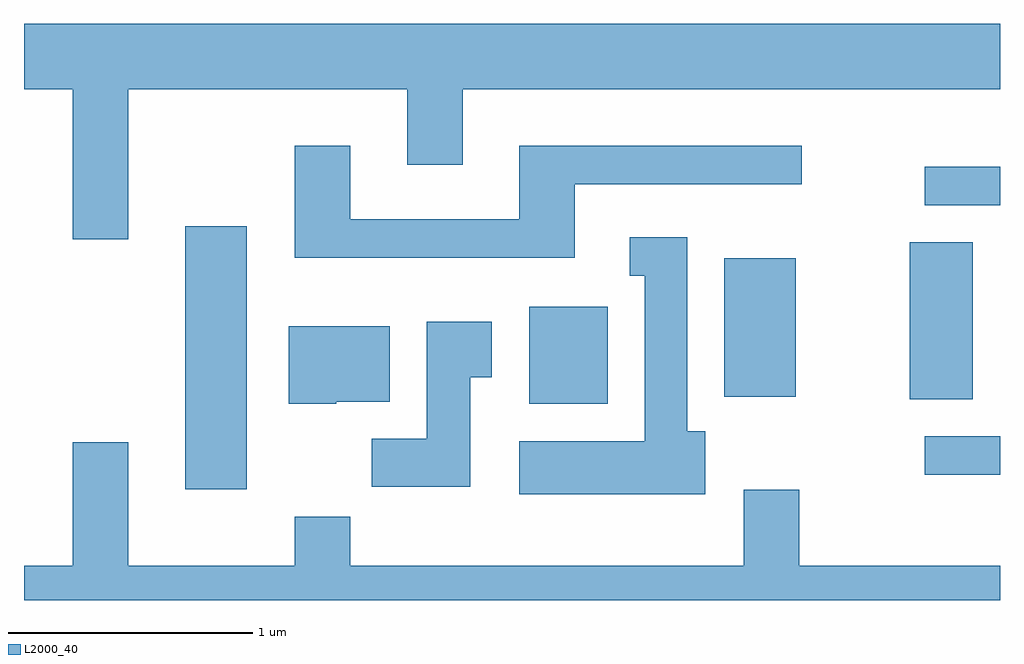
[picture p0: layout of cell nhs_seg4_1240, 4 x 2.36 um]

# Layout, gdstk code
import gdstk
lib = gdstk.Library(unit=1e-6, precision=1e-09)
def R(c, l, rs):  # rectangles x0, y0, x1, y1
    for r in rs: c.add(gdstk.rectangle(r[:2], r[2:], *l))
def P(c, l, *ps):  # polygons
    for p in ps: c.add(gdstk.Polygon(p, *l))
L2000_40 = (2000, 40)

nhs_seg4_1240 = lib.new_cell('nhs_seg4_1240')
R(nhs_seg4_1240, L2000_40, [(222.271,1286.436,222.524,1287.514), (225.303,1286.496,225.611,1286.654), (223.681,1286.786,224.004,1287.184), (225.241,1286.806,225.499,1287.449), (224.481,1286.816,224.774,1287.384), (225.303,1287.601,225.611,1287.759)])
P(nhs_seg4_1240, L2000_40, [(222.039,1288.076),(223.181,1288.076),(223.181,1287.766),(223.409,1287.766),(223.409,1288.076),(225.611,1288.076),(225.611,1288.344),(221.611,1288.344),(221.611,1288.076),(221.811,1288.076),(221.811,1287.461),(222.039,1287.461)],
  [(223.869,1287.686),(224.798,1287.686),(224.798,1287.844),(223.641,1287.844),(223.641,1287.544),(222.949,1287.544),(222.949,1287.844),(222.721,1287.844),(222.721,1287.386),(223.869,1287.386)],
  [(224.404,1286.674),(224.329,1286.674),(224.329,1287.469),(224.093,1287.469),(224.093,1287.311),(224.156,1287.311),(224.156,1286.634),(223.641,1286.634),(223.641,1286.416),(224.404,1286.416)],
  [(223.439,1286.896),(223.529,1286.896),(223.529,1287.124),(223.261,1287.124),(223.261,1286.644),(223.036,1286.644),(223.036,1286.446),(223.439,1286.446)],
  [(222.89,1286.796),(223.109,1286.796),(223.109,1287.104),(222.696,1287.104),(222.696,1286.786),(222.89,1286.786)],
  [(225.611,1286.124),(224.789,1286.124),(224.789,1286.434),(224.561,1286.434),(224.561,1286.124),(222.949,1286.124),(222.949,1286.324),(222.721,1286.324),(222.721,1286.124),(222.039,1286.124),(222.039,1286.629),(221.811,1286.629),(221.811,1286.124),(221.611,1286.124),(221.611,1285.982),(225.611,1285.982)])

lib.write_gds('nhs_seg4_1240.gds')
